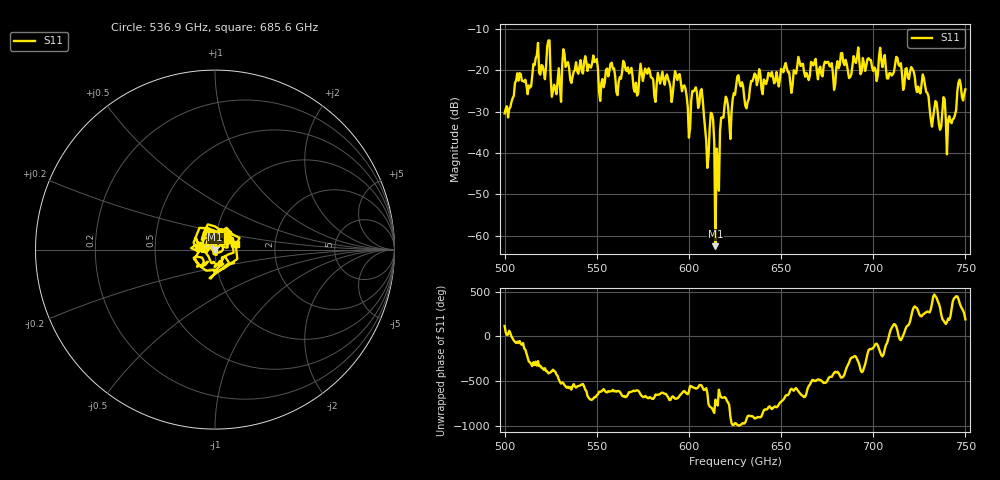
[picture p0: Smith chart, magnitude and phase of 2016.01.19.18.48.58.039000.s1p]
!Created with skrf (http://scikit-rf.org).
# GHz S RI R 50.0
!freq ReS11 ImS11
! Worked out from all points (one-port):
!   401 points, 500 GHz to 750 GHz, reference 50 ohm
!   lowest |S11| = -62.6 dB at 614.4 GHz (marker M1), VSWR 1.00, Z = 50.1 + j0.0176 ohm
!   |S11| at or under -10 dB: start of sweep to end of sweep
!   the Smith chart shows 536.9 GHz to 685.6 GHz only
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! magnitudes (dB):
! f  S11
! 500 GHz  -30.4
! 507.5 GHz  -22.5
! 513.8 GHz  -24.2
! 516.9 GHz  -17.0
! 523.8 GHz  -12.7
! 526.9 GHz  -23.5
! 531.2 GHz  -18.8
! 548.8 GHz  -18.0
! 552.5 GHz  -23.0
! 562.5 GHz  -21.6
! 593.8 GHz  -22.3
! 600 GHz  -36.3
! 603.1 GHz  -24.7
! 606.9 GHz  -24.5
! 610 GHz  -43.6
! 612.5 GHz  -30.5
! 614.4 GHz  -62.6
! 615.6 GHz  -42.1
! 618.8 GHz  -31.4
! 622.5 GHz  -36.6
! 625 GHz  -25.9
! 656.2 GHz  -23.5
! 660.6 GHz  -18.9
! 687.5 GHz  -21.6
! 718.8 GHz  -21.7
! 741.2 GHz  -31.1
! 746.9 GHz  -22.2
! 750 GHz  -24.6
